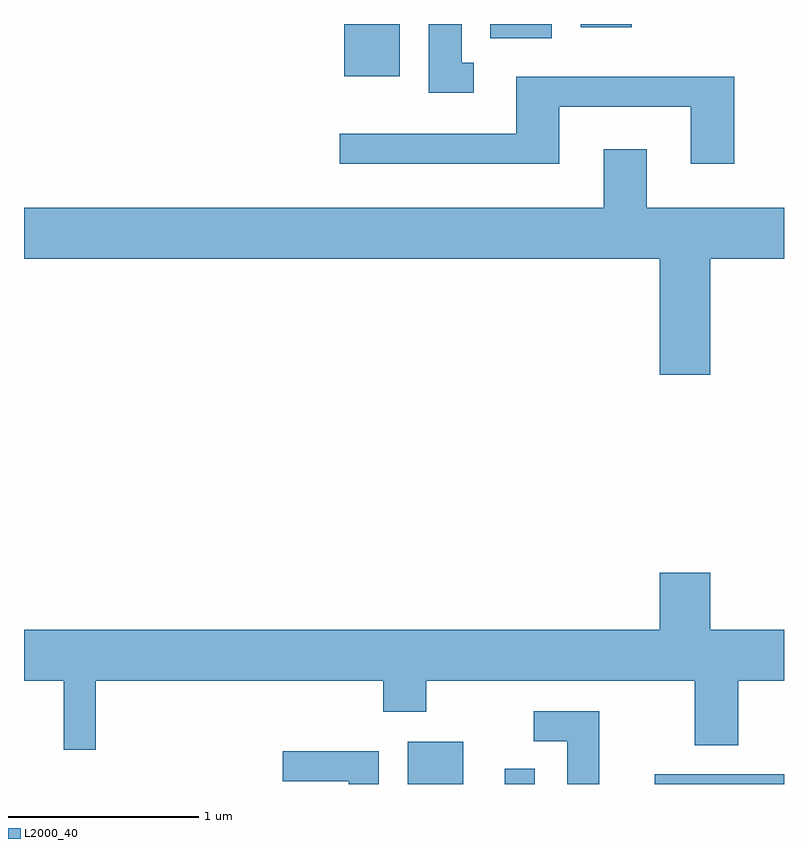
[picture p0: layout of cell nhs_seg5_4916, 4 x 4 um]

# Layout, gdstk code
import gdstk
lib = gdstk.Library(unit=1e-6, precision=1e-09)
def R(c, l, rs):  # rectangles x0, y0, x1, y1
    for r in rs: c.add(gdstk.rectangle(r[:2], r[2:], *l))
def P(c, l, *ps):  # polygons
    for p in ps: c.add(gdstk.Polygon(p, *l))
L2000_40 = (2000, 40)

nhs_seg5_4916 = lib.new_cell('nhs_seg5_4916')
R(nhs_seg5_4916, L2000_40, [(333.631,1414.072,333.924,1414.294), (334.141,1414.072,334.299,1414.153), (334.931,1414.072,335.611,1414.124), (333.296,1417.796,333.589,1418.072), (334.066,1417.996,334.389,1418.072), (334.541,1418.056,334.809,1418.072)])
P(nhs_seg5_4916, L2000_40, [(333.978,1417.869),(333.914,1417.869),(333.914,1418.072),(333.741,1418.072),(333.741,1417.711),(333.978,1417.711)],
  [(334.429,1417.636),(335.121,1417.636),(335.121,1417.336),(335.349,1417.336),(335.349,1417.794),(334.201,1417.794),(334.201,1417.494),(333.273,1417.494),(333.273,1417.336),(334.429,1417.336)],
  [(335.224,1416.836),(335.611,1416.836),(335.611,1417.104),(334.889,1417.104),(334.889,1417.414),(334.661,1417.414),(334.661,1417.104),(331.611,1417.104),(331.611,1416.836),(334.956,1416.836),(334.956,1416.226),(335.224,1416.226)],
  [(331.989,1414.616),(333.501,1414.616),(333.501,1414.451),(333.729,1414.451),(333.729,1414.616),(335.141,1414.616),(335.141,1414.276),(335.369,1414.276),(335.369,1414.616),(335.611,1414.616),(335.611,1414.884),(335.224,1414.884),(335.224,1415.184),(334.956,1415.184),(334.956,1414.884),(331.611,1414.884),(331.611,1414.616),(331.821,1414.616),(331.821,1414.253),(331.989,1414.253)],
  [(334.639,1414.454),(334.293,1414.454),(334.293,1414.296),(334.471,1414.296),(334.471,1414.072),(334.639,1414.072)],
  [(333.479,1414.244),(332.973,1414.244),(332.973,1414.086),(333.321,1414.086),(333.321,1414.072),(333.479,1414.072)])

lib.write_gds('nhs_seg5_4916.gds')
